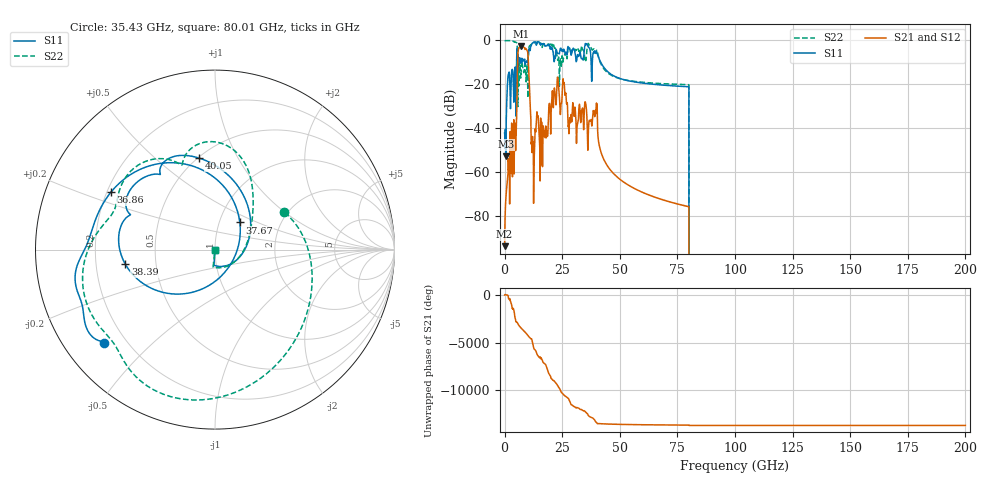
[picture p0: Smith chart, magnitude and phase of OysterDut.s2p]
! File created by SignalIntegrity v1.1.1: Signal and Power Integrity Tools
! https://github.com/TeledyneLeCroy/SignalIntegrity
# MHz MA S R 50.0
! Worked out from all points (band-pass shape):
!   20000 points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, 10 MHz to 200 GHz, reference 50 ohm
!   highest |S21| = -2.54 dB at 7.02 GHz (marker M1); lowest = -94.0 dB at 10 MHz (marker M2)
!   |S21| within 3 dB of the highest: 5.794 GHz to 10.05 GHz (4.259 GHz wide, 53.7 % of centre)
!   lowest |S11| = -52.9 dB at 520 MHz (marker M3), VSWR 1.00, Z = 49.9 - j0.215 ohm
!   |S11| at or under -10 dB: start of sweep to 5.198 GHz; 37.56 GHz to 38.07 GHz (514.7 MHz wide, 1.36 % of centre); 41.74 GHz to end of sweep (the widest 3 of 9)
!   |S22| runs from - to 0.0 dB; largest |S21 - S12| = 0
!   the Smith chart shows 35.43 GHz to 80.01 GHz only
!   S11 on the Smith chart (normalised r, x): 35.43 GHz: 0.12, -0.36; 36.86 GHz: 0.22, +0.25; 37.67 GHz: 1.25, +0.40; 38.39 GHz: 0.33, -0.07; 40.05 GHz: 0.51, +0.71; 80.01 GHz: 1.00, +0.00
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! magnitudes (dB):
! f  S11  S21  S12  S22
! 10 MHz  -42.3  -94.0  -94.0  -0.1
! 520 MHz  -52.9  -72.8  -72.8  -0.1
! 4.36 GHz  -13.9  -48.2  -48.2  -0.7
! 7.02 GHz  -10.3  -2.5  -2.5  -17.1
! 9.73 GHz  -9.2  -4.5  -4.5  -11.1
! 12.46 GHz  -0.9  -49.6  -49.6  -1.2
! 22.49 GHz  -4.4  -26.7  -26.7  -6.1
! 33.35 GHz  -8.3  -32.5  -32.5  -2.9
! 35.43 GHz  -1.9  -30.5  -30.5  -7.2
! 36.86 GHz  -3.6  -36.5  -36.5  -2.2
! 37.67 GHz  -13.8  -36.8  -36.8  -3.7
! 38.39 GHz  -5.9  -32.3  -32.3  -4.2
! 40.05 GHz  -5.7  -30.0  -30.0  -4.4
! 45.79 GHz  -15.2  -59.0  -59.0  -15.6
! 66.68 GHz  -20.2  -72.1  -72.1  -19.6
! 79 GHz  -21.1  -75.7  -75.7  -20.2
! 80.01 GHz  -  -  -  -
! 81.01 GHz  -  -  -  -
! 100 GHz  -  -  -  -
! 133.3 GHz  -  -  -  -
! 166.7 GHz  -  -  -  -
! 200 GHz  -  -  -  -
